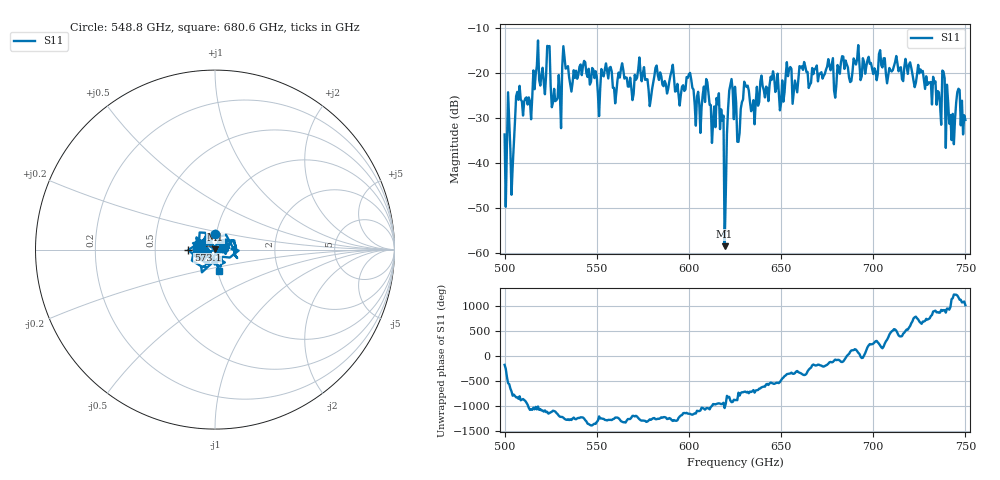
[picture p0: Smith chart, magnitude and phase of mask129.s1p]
!Created with skrf (http://scikit-rf.org).
# GHz S MA R 50.0
!freq magS11 angS11
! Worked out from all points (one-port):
!   401 points, 500 GHz to 750 GHz, reference 50 ohm
!   lowest |S11| = -58.4 dB at 619.4 GHz (marker M1), VSWR 1.00, Z = 50.1 + j0.0821 ohm
!   |S11| at or under -10 dB: start of sweep to end of sweep
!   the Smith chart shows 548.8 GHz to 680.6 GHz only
!   S11 on the Smith chart (normalised r, x): 548.8 GHz: 0.98, +0.17; 573.1 GHz: 0.74, -0.00; 680.6 GHz: 1.02, -0.25
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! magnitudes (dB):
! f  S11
! 500 GHz  -33.6
! 504.4 GHz  -40.8
! 506.9 GHz  -24.2
! 513.8 GHz  -26.3
! 516.9 GHz  -20.3
! 523.8 GHz  -14.2
! 526.9 GHz  -23.5
! 531.2 GHz  -18.7
! 548.8 GHz  -21.1
! 562.5 GHz  -21.0
! 573.1 GHz  -16.6
! 593.8 GHz  -22.4
! 600 GHz  -20.3
! 605 GHz  -24.2
! 609.4 GHz  -21.3
! 613.1 GHz  -31.0
! 616.2 GHz  -24.5
! 619.4 GHz  -58.4
! 620.6 GHz  -33.6
! 622.5 GHz  -22.6
! 625 GHz  -23.1
! 627.5 GHz  -33.3
! 631.2 GHz  -23.1
! 656.2 GHz  -26.8
! 680.6 GHz  -18.2
! 687.5 GHz  -22.0
! 718.8 GHz  -20.2
! 750 GHz  -30.4
